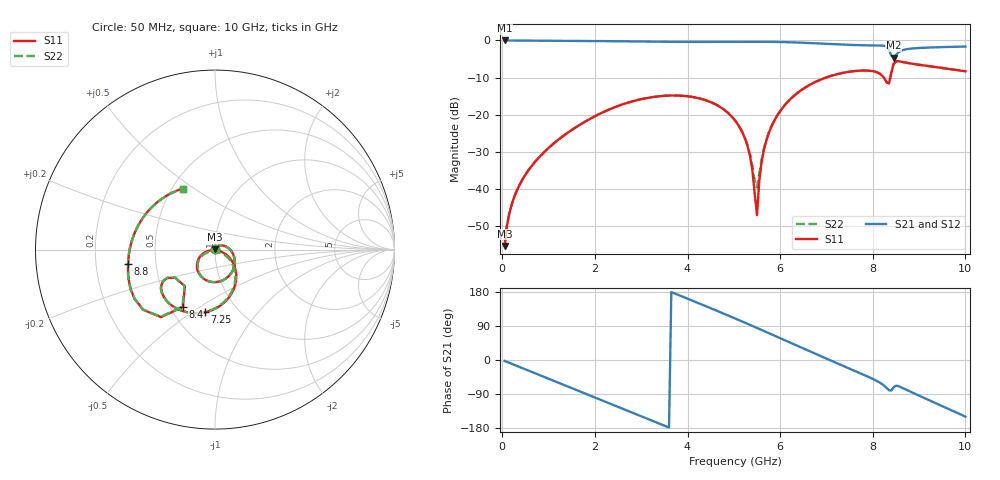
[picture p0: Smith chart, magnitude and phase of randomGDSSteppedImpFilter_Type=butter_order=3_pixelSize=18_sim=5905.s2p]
! freq	dB(S11)	phase(S11)	dB(S12)	phase(S12)
!  dB(S21)	phase(S21)	dB(S22)	phase(S22)
!S-par simulation data
#  GHz  S  DB  R 50
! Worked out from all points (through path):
!   200 points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, 50 MHz to 10 GHz, reference 50 ohm
!   highest |S21| = -0.01 dB at 50 MHz (marker M1); lowest = -4.7 dB at 8.45 GHz (marker M2)
!   group delay of S21, straight-line fit = 142 ps
!   lowest |S11| = -55.3 dB at 50 MHz (marker M3), VSWR 1.00, Z = 50 + j0.165 ohm
!   |S11| at or under -10 dB: start of sweep to 6.99 GHz; 8.236 GHz to 8.378 GHz (141.2 MHz wide, 1.7 % of centre)
!   |S22| runs from -55.4 to -5.6 dB; largest |S21 - S12| = 0
!   S11 on the Smith chart (normalised r, x): 50 MHz: 1.00, +0.00; 7.25 GHz: 0.71, -0.56; 8.4 GHz: 0.58, -0.43; 8.8 GHz: 0.34, -0.07; 10 GHz: 0.57, +0.45
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0.05  -55.33 74.9  -0.01 -2.5  -0.01 -2.5  -55.40 75.1
0.2  -44.29 74.7  -0.02 -9.9  -0.02 -9.9  -44.32 74.7
0.5  -36.13 64.1  -0.04 -24.7  -0.04 -24.7  -36.16 64.7
1.15  -27.33 33.3  -0.07 -56.8  -0.07 -56.8  -27.34 34.0
1.75  -22.15 4.0  -0.12 -86.5  -0.12 -86.5  -22.14 4.8
2.5  -17.64 -33.2  -0.22 -123.7  -0.22 -123.7  -17.65 -32.3
3.4  -15.02 -78.0  -0.35 -168.3  -0.35 -168.3  -15.01 -76.7
4.2  -15.45 -117.2  -0.40 151.9  -0.40 151.9  -15.44 -115.5
5.05  -21.97 -158.9  -0.35 108.4  -0.35 108.4  -21.90 -154.5
5.35  -31.19 -169.7  -0.34 92.6  -0.34 92.6  -30.69 -157.0
5.5  -47.04 -67.7  -0.35 84.6  -0.35 84.6  -39.59 -83.5
5.6  -32.65 -19.0  -0.35 79.2  -0.35 79.2  -32.02 -34.1
5.8  -23.52 -24.0  -0.38 68.4  -0.38 68.4  -23.44 -29.7
6.7  -11.56 -70.2  -0.73 19.7  -0.73 19.7  -11.55 -71.5
7.25  -9.03 -99.1  -1.06 -9.5  -1.06 -9.5  -9.03 -99.9
8  -8.27 -138.7  -1.34 -49.9  -1.34 -49.9  -8.27 -139.2
8.35  -11.56 -129.5  -2.53 -79.8  -2.53 -79.8  -11.55 -129.8
8.4  -8.73 -119.3  -4.08 -80.6  -4.08 -80.6  -8.71 -119.7
8.45  -6.35 -128.5  -4.67 -71.8  -4.67 -71.8  -6.34 -128.9
8.8  -6.18 -170.7  -2.24 -83.0  -2.24 -83.0  -6.18 -171.0
9.4  -7.23 153.5  -1.83 -116.0  -1.83 -116.0  -7.23 153.5
10  -8.31 117.7  -1.65 -149.6  -1.65 -149.6  -8.30 118.0
